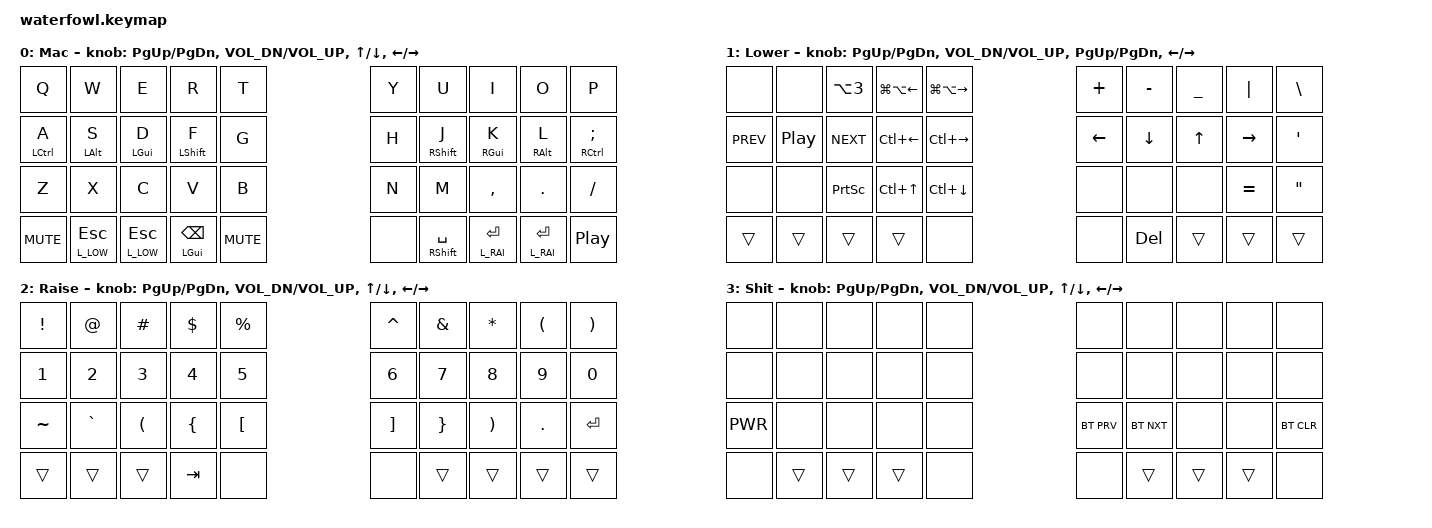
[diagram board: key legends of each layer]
/*
 * Copyright (c) 2022 The ZMK Contributors
 *
 * SPDX-License-Identifier: MIT
 */

#include <behaviors.dtsi>
#include <dt-bindings/zmk/keys.h>
#include <dt-bindings/zmk/bt.h>

// layers
#define L_MAC   0
#define L_LOW   1
#define L_RAI   2
#define L_TRI   3

#define XXX     &none
#define ___     &trans

// mac
#define M_PTAB  &kp LG(LA(LEFT))
#define M_NTAB  &kp LG(LA(RIGHT))
#define M_PDSK  &kp LC(LEFT)
#define M_NDSK  &kp LC(RIGHT)
#define M_CTRL  &kp LC(UP)
#define M_WINS  &kp LC(DOWN)
#define M_GBP   &kp LA(3)


&mt {
    quick-tap-ms = <199>;
    tapping-term-ms = <250>;
    flavor = "tap-preferred";
};

&lt {
    tapping-term-ms = <150>;
    flavor = "hold-preferred";
};


/ {
    aliases {
        led-red = &led0;
        led-green = &led1;
        led-blue = &led2;
    };

    leds {
        compatible = "gpio-leds";
        status = "okay";
        led0: led_0 {
            gpios = <&gpio1 7 GPIO_ACTIVE_LOW>;  // red LED, connected to P1.07
        };
        led1: led_1 {
            gpios = <&gpio1 2 GPIO_ACTIVE_LOW>;  // green LED, connected to P1.02
        };
        led2: led_2 {
            gpios = <&gpio1 1 GPIO_ACTIVE_LOW>;  // blue LED, connected to P1.01
        };
    };
};

/ {
    behaviors {
        hml: home_row_mod_left {
            compatible = "zmk,behavior-hold-tap";
            #binding-cells = <2>;
            flavor = "balanced";
            require-prior-idle-ms = <150>;
            tapping-term-ms = <280>;
            quick-tap-ms = <175>;
            bindings = <&kp>, <&kp>;
            hold-trigger-key-positions = <5 6 7 8 9 15 16 17 18 19 25 26 27 28 29 35 36 37 38 39 >; // List of keys on the right side of the keyboard
            hold-trigger-on-release;
        };
        hmr: home_row_mod_right {
            compatible = "zmk,behavior-hold-tap";
            #binding-cells = <2>;
            flavor = "balanced";
            require-prior-idle-ms = <150>;
            tapping-term-ms = <280>;
            quick-tap-ms = <175>;
            bindings = <&kp>, <&kp>;
            hold-trigger-key-positions = < 0 1 2 3 4 10 11 12 13 14 20 21 22 23 24 30 31 32 33 34 >; // List of keys on the left side of the keyboard
            hold-trigger-on-release;
        };
    };
};

/ {
    conditional_layers {
        compatible = "zmk,conditional-layers";
        tri_layer {
            if-layers = <L_LOW L_RAI>;
            then-layer = <L_TRI>;
        };
    };
};


/ {
        keymap {
                compatible = "zmk,keymap";

                mac_layer {
                        display-name = "Mac";
                        bindings = <
//╭─────────────┬─────────────┬─────────────┬─────────────┬─────────────╮                               ╭─────────────┬─────────────┬─────────────┬─────────────┬─────────────╮
   &kp Q         &kp W         &kp E         &kp R         &kp T                                         &kp Y         &kp U         &kp I         &kp O         &kp P                  // 0-4   | 5-9
//├─────────────┼─────────────┼─────────────┼─────────────┼─────────────┤                               ├─────────────┼─────────────┼─────────────┼─────────────┼─────────────┤
   &hml LCTRL A  &hml LALT S   &hml LGUI D   &hml LSHFT F  &kp G                                         &kp H         &hmr RSHFT J  &hmr RGUI K   &hmr RALT L  &hmr RCTRL SEMI         // 10-14 | 15-19
//├─────────────┼─────────────┼─────────────┼─────────────┼─────────────┤                               ├─────────────┼─────────────┼─────────────┼─────────────┼─────────────┤
   &kp Z         &kp X         &kp C         &kp V         &kp B                                         &kp N         &kp M         &kp COMMA     &kp DOT       &kp FSLH               // 20-24 | 25-29
//╰─────────────┴─────────────┴─────────────┴─────────────┴─────────────┤  ╭────────────╮  ╭───────────╮├─────────────┼─────────────┼─────────────┴─────────────┼─────────────╯
                  &kp C_MUTE   &lt L_LOW ESC &lt L_LOW ESC &mt LGUI BSPC   &kp C_MUTE      XXX          &mt RSHFT SPACE &lt L_RAI RET &lt L_RAI RET  &kp C_PP                           // 30-34 | 35-39
//               ╰──────────╯ ╰─────────────┴─────────────┴─────────────╯  ╰────────────╯  ╰───────────╯╰─────────────┴─────────────┴─────────────╯ ╰──────────╯
                        >;
                        sensor-bindings = <
                          &inc_dec_kp PAGE_UP PAGE_DOWN
                          &inc_dec_kp C_VOL_DN C_VOL_UP
                          &inc_dec_kp UP DOWN
                          &inc_dec_kp LEFT RIGHT
                        >;
                };
                lower_mac_layer {
                        display-name = "Lower";
                        bindings = <
   XXX        XXX      M_GBP      M_PTAB     M_NTAB            &kp PLUS   &kp MINUS  &kp UNDER  &kp PIPE    &kp BSLH
   &kp C_PREV &kp C_PP &kp C_NEXT M_PDSK     M_NDSK            &kp LEFT   &kp DOWN   &kp UP     &kp RIGHT   &kp SQT 
   XXX        XXX      &kp PSCRN  M_CTRL     M_WINS            XXX        XXX        XXX        &kp EQUAL   &kp DQT 
              ___      ___        ___        ___     XXX XXX   &kp DEL    ___        ___        ___
                        >;
                        sensor-bindings = <
                          &inc_dec_kp PAGE_UP PAGE_DOWN
                          &inc_dec_kp C_VOL_DN C_VOL_UP
                          &inc_dec_kp PAGE_UP PAGE_DOWN
                          &inc_dec_kp LEFT RIGHT
                        >;
                };
                raise_layer {
                        display-name = "Raise";
                        bindings = <
   &kp EXCL  &kp AT    &kp HASH &kp DLLR &kp PRCNT        &kp CARET &kp AMPS &kp ASTRK &kp LPAR &kp RPAR
   &kp N1    &kp N2    &kp N3   &kp N4   &kp N5           &kp N6    &kp N7   &kp N8    &kp N9   &kp N0  
   &kp TILDE &kp GRAVE &kp LPAR &kp LBRC &kp LBKT         &kp RBKT  &kp RBRC &kp RPAR  &kp DOT  &kp RET 
             ___       ___      ___      &kp TAB  XXX XXX ___       ___      ___       ___
                        >;
                        sensor-bindings = <
                          &inc_dec_kp PAGE_UP PAGE_DOWN
                          &inc_dec_kp C_VOL_DN C_VOL_UP
                          &inc_dec_kp UP DOWN
                          &inc_dec_kp LEFT RIGHT
                        >;
                };
                tri_layer {
                        display-name = "Shit";
                        bindings = <
//╭─────────────┬─────────────┬─────────────┬─────────────┬─────────────╮                               ╭─────────────┬─────────────┬─────────────┬─────────────┬─────────────╮
    XXX           XXX           XXX           XXX           XXX                                           XXX           XXX           XXX           XXX           XXX
//├─────────────┼─────────────┼─────────────┼─────────────┼─────────────┤                               ├─────────────┼─────────────┼─────────────┼─────────────┼─────────────┤
    XXX           XXX           XXX           XXX           XXX                                           XXX           XXX           XXX           XXX           XXX
//├─────────────┼─────────────┼─────────────┼─────────────┼─────────────┤                               ├─────────────┼─────────────┼─────────────┼─────────────┼─────────────┤
    &kp C_PWR     XXX           XXX           XXX           XXX                                           &bt BT_PRV    &bt BT_NXT    XXX           XXX           &bt BT_CLR
//╰─────────────┼─────────────┴─────────────┼─────────────┼─────────────┤  ╭────────────╮  ╭───────────╮├─────────────┼─────────────┼─────────────┴─────────────┼─────────────╯
                  XXX           ___           ___           ___              XXX            XXX           ___           ___           ___           XXX
//                            ╰─────────────┴─────────────┴─────────────╯  ╰────────────╯  ╰───────────╯╰─────────────┴─────────────┴─────────────╯
                        >;
                        sensor-bindings = <
                            &inc_dec_kp PAGE_UP PAGE_DOWN
                            &inc_dec_kp C_VOL_DN C_VOL_UP
                            &inc_dec_kp UP DOWN
                            &inc_dec_kp LEFT RIGHT
                        >;
                };
        };
};
